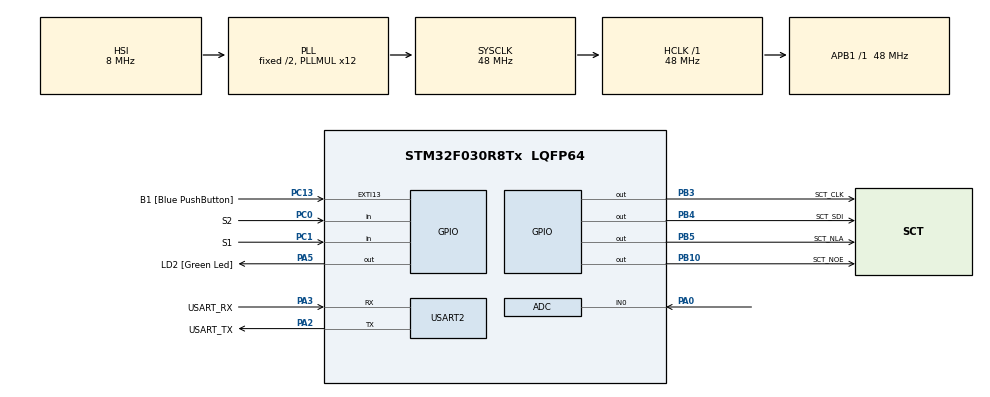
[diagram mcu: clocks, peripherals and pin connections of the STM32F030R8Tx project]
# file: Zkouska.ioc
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ADC.ContinuousConvMode=ENABLE
ADC.Overrun=ADC_OVR_DATA_OVERWRITTEN
ADC.SamplingTime=ADC_SAMPLETIME_239CYCLES_5
Mcu.Family=STM32F0
Mcu.Name=STM32F030R8Tx
Mcu.Package=LQFP64
NVIC.ADC1_IRQn=true\:0\:0\:false\:false\:true\:true\:true\:true
PA0.Mode=IN0
PA0.Signal=ADC_IN0
PA13.GPIO_Label=TMS
PA13.Mode=Serial_Wire
PA13.Signal=SYS_SWDIO
PA14.GPIO_Label=TCK
PA14.Mode=Serial_Wire
PA14.Signal=SYS_SWCLK
PA2.GPIO_Label=USART_TX
PA2.GPIO_Mode=GPIO_MODE_AF_PP
PA2.GPIO_PuPd=GPIO_NOPULL
PA2.GPIO_Speed=GPIO_SPEED_FREQ_LOW
PA2.Mode=Asynchronous
PA2.Signal=USART2_TX
PA3.GPIO_Label=USART_RX
PA3.GPIO_Mode=GPIO_MODE_AF_PP
PA3.GPIO_PuPd=GPIO_NOPULL
PA3.GPIO_Speed=GPIO_SPEED_FREQ_LOW
PA3.Mode=Asynchronous
PA3.Signal=USART2_RX
PA5.GPIO_Label=LD2 [Green Led]
PA5.GPIO_Mode=GPIO_MODE_OUTPUT_PP
PA5.GPIO_PuPd=GPIO_NOPULL
PA5.GPIO_Speed=GPIO_SPEED_FREQ_LOW
PA5.Signal=GPIO_Output
PB10.GPIO_Label=SCT_NOE
PB10.Signal=GPIO_Output
PB3.GPIO_Label=SCT_CLK
PB3.Signal=GPIO_Output
PB4.GPIO_Label=SCT_SDI
PB4.Signal=GPIO_Output
PB5.GPIO_Label=SCT_NLA
PB5.Signal=GPIO_Output
PC0.GPIO_Label=S2
PC0.GPIO_PuPd=GPIO_PULLUP
PC0.Signal=GPIO_Input
PC1.GPIO_Label=S1
PC1.GPIO_PuPd=GPIO_PULLUP
PC1.Signal=GPIO_Input
PC13.GPIO_Label=B1 [Blue PushButton]
PC13.GPIO_ModeDefaultEXTI=GPIO_MODE_IT_FALLING
PC13.Signal=GPXTI13
PC14-OSC32_IN.Mode=LSE-External-Oscillator
PC14-OSC32_IN.Signal=RCC_OSC32_IN
PC15-OSC32_OUT.Mode=LSE-External-Oscillator
PC15-OSC32_OUT.Signal=RCC_OSC32_OUT
PF0-OSC_IN.Mode=HSE-External-Clock-Source
PF0-OSC_IN.Signal=RCC_OSC_IN
PF1-OSC_OUT.Signal=RCC_OSC_OUT
ProjectManager.HeapSize=0x200
ProjectManager.StackSize=0x400
ProjectManager.TargetToolchain=STM32CubeIDE
RCC.AHBFreq_Value=48000000
RCC.APB1Freq_Value=48000000
RCC.APB1TimFreq_Value=48000000
RCC.HCLKFreq_Value=48000000
RCC.PLLMUL=RCC_PLL_MUL12
RCC.SYSCLKFreq_VALUE=48000000
RCC.SYSCLKSource=RCC_SYSCLKSOURCE_PLLCLK
USART2.VirtualMode-Asynchronous=VM_ASYNC
board=NUCLEO-F030R8

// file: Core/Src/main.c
/* USER CODE BEGIN Header */
/**
  ******************************************************************************
  * @file           : main.c
  * @brief          : Main program body
  ******************************************************************************
  * @attention
  *
  * Copyright (c) 2025 STMicroelectronics.
  * All rights reserved.
  *
  * This software is licensed under terms that can be found in the LICENSE file
  * in the root directory of this software component.
  * If no LICENSE file comes with this software, it is provided AS-IS.
  *
  ******************************************************************************
  */
/* USER CODE END Header */
#include "main.h"

/* USER CODE BEGIN Includes */
#include "sct.h"
/* USER CODE END Includes */

ADC_HandleTypeDef hadc;

UART_HandleTypeDef huart2;

void SystemClock_Config(void);
static void MX_GPIO_Init(void);
static void MX_USART2_UART_Init(void);
static void MX_ADC_Init(void);

/* USER CODE BEGIN 0 */

static volatile uint32_t raw_pot;								// Init ADC raw pot value

void HAL_ADC_ConvCpltCallback(ADC_HandleTypeDef* hadc)
  {
    raw_pot = HAL_ADC_GetValue(hadc);  							// Read raw ADC pot value
  }

/* USER CODE END 0 */

int main(void)
{

  /* MCU Configuration--------------------------------------------------------*/

  /* Reset of all peripherals, Initializes the Flash interface and the Systick. */
  HAL_Init();

  /* Configure the system clock */
  SystemClock_Config();

  /* Initialize all configured peripherals */
  MX_GPIO_Init();
  MX_USART2_UART_Init();
  MX_ADC_Init();
  /* USER CODE BEGIN 2 */

  HAL_ADCEx_Calibration_Start(&hadc);  							// Calibrate ADC
  HAL_ADC_Start_IT(&hadc);             							// Start ADC in interrupt mode
  sct_init();						   							// Init display driver

  uint8_t direction = 1;										// Init direction variable

  /* USER CODE END 2 */

  /* Infinite loop */
  while (1)
  {

    /* USER CODE BEGIN 3 */
	  if (HAL_GPIO_ReadPin(S1_GPIO_Port, S1_Pin) == 0) {		// Check if right button is pressed
		  direction = 1; 										// Clockwise
	  }
	  if (HAL_GPIO_ReadPin(S2_GPIO_Port, S2_Pin) == 0) {		// Check if left button is pressed
		  direction = 0; 										// Counterclockwise
	  }
	  sct_cycle_outer_segments(direction);						// Call display function to show next segment in the right direction
	  uint32_t scaled = 20 + ((raw_pot * 280) / 4096);          // Rescale pot input 20 to 300 ms
	  HAL_Delay(scaled);										// Wait for delay set by the pot
  }

  /* USER CODE END 3 */
}

void SystemClock_Config(void)
{
  RCC_OscInitTypeDef RCC_OscInitStruct = {0};
  RCC_ClkInitTypeDef RCC_ClkInitStruct = {0};

  /** Initializes the RCC Oscillators according to the specified parameters
  * in the RCC_OscInitTypeDef structure.
  */
  RCC_OscInitStruct.OscillatorType = RCC_OSCILLATORTYPE_HSI|RCC_OSCILLATORTYPE_HSI14;
  RCC_OscInitStruct.HSIState = RCC_HSI_ON;
  RCC_OscInitStruct.HSI14State = RCC_HSI14_ON;
  RCC_OscInitStruct.HSICalibrationValue = RCC_HSICALIBRATION_DEFAULT;
  RCC_OscInitStruct.HSI14CalibrationValue = 16;
  RCC_OscInitStruct.PLL.PLLState = RCC_PLL_ON;
  RCC_OscInitStruct.PLL.PLLSource = RCC_PLLSOURCE_HSI;
  RCC_OscInitStruct.PLL.PLLMUL = RCC_PLL_MUL12;
  RCC_OscInitStruct.PLL.PREDIV = RCC_PREDIV_DIV1;
  if (HAL_RCC_OscConfig(&RCC_OscInitStruct) != HAL_OK)
  {
    Error_Handler();
  }

  /** Initializes the CPU, AHB and APB buses clocks
  */
  RCC_ClkInitStruct.ClockType = RCC_CLOCKTYPE_HCLK|RCC_CLOCKTYPE_SYSCLK
                              |RCC_CLOCKTYPE_PCLK1;
  RCC_ClkInitStruct.SYSCLKSource = RCC_SYSCLKSOURCE_PLLCLK;
  RCC_ClkInitStruct.AHBCLKDivider = RCC_SYSCLK_DIV1;
  RCC_ClkInitStruct.APB1CLKDivider = RCC_HCLK_DIV1;

  if (HAL_RCC_ClockConfig(&RCC_ClkInitStruct, FLASH_LATENCY_1) != HAL_OK)
  {
    Error_Handler();
  }
}

static void MX_ADC_Init(void)
{

  ADC_ChannelConfTypeDef sConfig = {0};

  /** Configure the global features of the ADC (Clock, Resolution, Data Alignment and number of conversion)
  */
  hadc.Instance = ADC1;
  hadc.Init.ClockPrescaler = ADC_CLOCK_ASYNC_DIV1;
  hadc.Init.Resolution = ADC_RESOLUTION_12B;
  hadc.Init.DataAlign = ADC_DATAALIGN_RIGHT;
  hadc.Init.ScanConvMode = ADC_SCAN_DIRECTION_FORWARD;
  hadc.Init.EOCSelection = ADC_EOC_SINGLE_CONV;
  hadc.Init.LowPowerAutoWait = DISABLE;
  hadc.Init.LowPowerAutoPowerOff = DISABLE;
  hadc.Init.ContinuousConvMode = ENABLE;
  hadc.Init.DiscontinuousConvMode = DISABLE;
  hadc.Init.ExternalTrigConv = ADC_SOFTWARE_START;
  hadc.Init.ExternalTrigConvEdge = ADC_EXTERNALTRIGCONVEDGE_NONE;
  hadc.Init.DMAContinuousRequests = DISABLE;
  hadc.Init.Overrun = ADC_OVR_DATA_OVERWRITTEN;
  if (HAL_ADC_Init(&hadc) != HAL_OK)
  {
    Error_Handler();
  }

  /** Configure for the selected ADC regular channel to be converted.
  */
  sConfig.Channel = ADC_CHANNEL_0;
  sConfig.Rank = ADC_RANK_CHANNEL_NUMBER;
  sConfig.SamplingTime = ADC_SAMPLETIME_239CYCLES_5;
  if (HAL_ADC_ConfigChannel(&hadc, &sConfig) != HAL_OK)
  {
    Error_Handler();
  }

}

static void MX_USART2_UART_Init(void)
{

  huart2.Instance = USART2;
  huart2.Init.BaudRate = 38400;
  huart2.Init.WordLength = UART_WORDLENGTH_8B;
  huart2.Init.StopBits = UART_STOPBITS_1;
  huart2.Init.Parity = UART_PARITY_NONE;
  huart2.Init.Mode = UART_MODE_TX_RX;
  huart2.Init.HwFlowCtl = UART_HWCONTROL_NONE;
  huart2.Init.OverSampling = UART_OVERSAMPLING_16;
  huart2.Init.OneBitSampling = UART_ONE_BIT_SAMPLE_DISABLE;
  huart2.AdvancedInit.AdvFeatureInit = UART_ADVFEATURE_NO_INIT;
  if (HAL_UART_Init(&huart2) != HAL_OK)
  {
    Error_Handler();
  }

}

static void MX_GPIO_Init(void)
{
  GPIO_InitTypeDef GPIO_InitStruct = {0};

  /* GPIO Ports Clock Enable */
  __HAL_RCC_GPIOC_CLK_ENABLE();
  __HAL_RCC_GPIOF_CLK_ENABLE();
  __HAL_RCC_GPIOA_CLK_ENABLE();
  __HAL_RCC_GPIOB_CLK_ENABLE();

  /*Configure GPIO pin Output Level */
  HAL_GPIO_WritePin(LD2_GPIO_Port, LD2_Pin, GPIO_PIN_RESET);

  /*Configure GPIO pin Output Level */
  HAL_GPIO_WritePin(GPIOB, SCT_NOE_Pin|SCT_CLK_Pin|SCT_SDI_Pin|SCT_NLA_Pin, GPIO_PIN_RESET);

  /*Configure GPIO pin : B1_Pin */
  GPIO_InitStruct.Pin = B1_Pin;
  GPIO_InitStruct.Mode = GPIO_MODE_IT_FALLING;
  GPIO_InitStruct.Pull = GPIO_NOPULL;
  HAL_GPIO_Init(B1_GPIO_Port, &GPIO_InitStruct);

  /*Configure GPIO pins : S2_Pin S1_Pin */
  GPIO_InitStruct.Pin = S2_Pin|S1_Pin;
  GPIO_InitStruct.Mode = GPIO_MODE_INPUT;
  GPIO_InitStruct.Pull = GPIO_PULLUP;
  HAL_GPIO_Init(GPIOC, &GPIO_InitStruct);

  /*Configure GPIO pin : LD2_Pin */
  GPIO_InitStruct.Pin = LD2_Pin;
  GPIO_InitStruct.Mode = GPIO_MODE_OUTPUT_PP;
  GPIO_InitStruct.Pull = GPIO_NOPULL;
  GPIO_InitStruct.Speed = GPIO_SPEED_FREQ_LOW;
  HAL_GPIO_Init(LD2_GPIO_Port, &GPIO_InitStruct);

  /*Configure GPIO pins : SCT_NOE_Pin SCT_CLK_Pin SCT_SDI_Pin SCT_NLA_Pin */
  GPIO_InitStruct.Pin = SCT_NOE_Pin|SCT_CLK_Pin|SCT_SDI_Pin|SCT_NLA_Pin;
  GPIO_InitStruct.Mode = GPIO_MODE_OUTPUT_PP;
  GPIO_InitStruct.Pull = GPIO_NOPULL;
  GPIO_InitStruct.Speed = GPIO_SPEED_FREQ_LOW;
  HAL_GPIO_Init(GPIOB, &GPIO_InitStruct);

}

void Error_Handler(void)
{
  __disable_irq();
  while (1)
  {
  }
}
